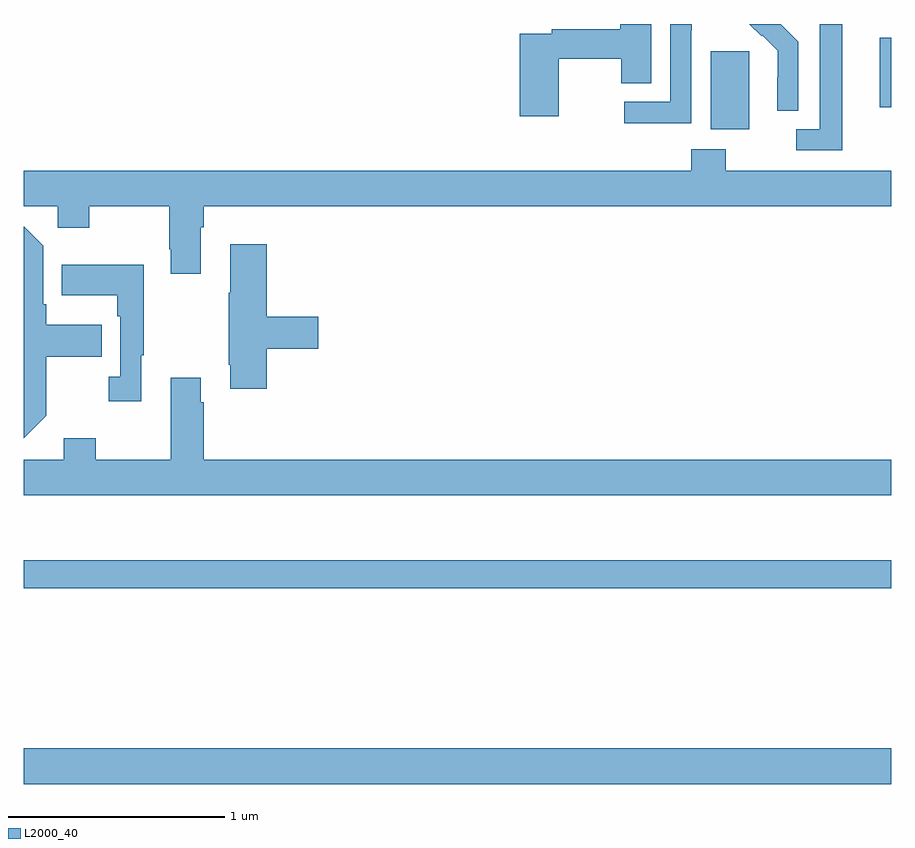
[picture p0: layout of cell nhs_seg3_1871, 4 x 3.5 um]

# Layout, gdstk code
import gdstk
lib = gdstk.Library(unit=1e-6, precision=1e-09)
def R(c, l, rs):  # rectangles x0, y0, x1, y1
    for r in rs: c.add(gdstk.rectangle(r[:2], r[2:], *l))
def P(c, l, *ps):  # polygons
    for p in ps: c.add(gdstk.Polygon(p, *l))
L2000_40 = (2000, 40)

nhs_seg3_1871 = lib.new_cell('nhs_seg3_1871')
R(nhs_seg3_1871, L2000_40, [(207,720.896,211,721.06), (207,721.798,211,721.927), (210.167,723.914,210.346,724.275), (210.947,724.017,211,724.337)])
P(nhs_seg3_1871, L2000_40, [(210.775,724.4),(210.671,724.4),(210.671,723.915),(210.561,723.915),(210.561,723.819),(210.775,723.819)],
  [(210.57,724.318),(210.497,724.391),(210.498,724.392),(210.49,724.4),(210.346,724.4),(210.402,724.344),(210.405,724.347),(210.476,724.277),(210.476,724.154),(210.474,724.154),(210.474,724),(210.57,724)],
  [(209.466,724.24),(209.755,724.24),(209.755,724.126),(209.893,724.126),(209.893,724.4),(209.75,724.4),(209.75,724.376),(209.434,724.376),(209.434,724.356),(209.288,724.356),(209.288,723.975),(209.466,723.975)],
  [(210.078,724.372),(210.081,724.372),(210.081,724.4),(209.982,724.4),(209.982,724.041),(209.769,724.041),(209.769,723.943),(210.078,723.943)],
  [(207.817,723.464),(207.83,723.464),(207.83,723.56),(211,723.56),(211,723.724),(210.237,723.724),(210.237,723.823),(210.077,723.823),(210.077,723.724),(207,723.724),(207,723.56),(207.156,723.56),(207.156,723.461),(207.303,723.461),(207.303,723.56),(207.67,723.56),(207.67,723.361),(207.677,723.361),(207.677,723.249),(207.817,723.249)],
  [(207.103,722.593),(207.103,722.866),(207.359,722.866),(207.359,723.013),(207.103,723.013),(207.103,723.109),(207.09,723.109),(207.09,723.378),(207.003,723.465),(207,723.465),(207,722.49)],
  [(208.121,722.903),(208.357,722.903),(208.357,723.05),(208.121,723.05),(208.121,723.385),(207.953,723.385),(207.953,723.161),(207.946,723.161),(207.946,722.83),(207.953,722.83),(207.953,722.718),(208.121,722.718)],
  [(207.541,722.873),(207.553,722.873),(207.553,723.289),(207.175,723.289),(207.175,723.149),(207.432,723.149),(207.432,723.053),(207.444,723.053),(207.444,722.774),(207.393,722.774),(207.393,722.661),(207.541,722.661)],
  [(211,722.392),(207.83,722.392),(207.83,722.657),(207.817,722.657),(207.817,722.77),(207.677,722.77),(207.677,722.392),(207.333,722.392),(207.333,722.491),(207.185,722.491),(207.185,722.392),(207,722.392),(207,722.228),(211,722.228)])

lib.write_gds('nhs_seg3_1871.gds')
